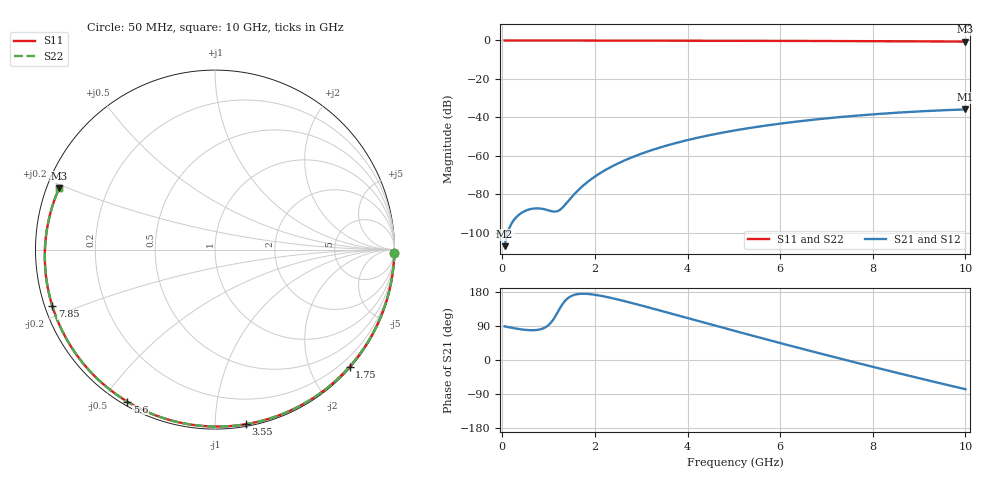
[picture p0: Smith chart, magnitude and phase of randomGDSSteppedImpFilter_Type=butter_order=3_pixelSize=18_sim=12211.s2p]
! freq	dB(S11)	phase(S11)	dB(S12)	phase(S12)
!  dB(S21)	phase(S21)	dB(S22)	phase(S22)
!S-par simulation data
#  GHz  S  DB  R 50
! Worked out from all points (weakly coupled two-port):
!   200 points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, 50 MHz to 10 GHz, reference 50 ohm
!   highest |S21| = -35.84 dB at 10 GHz (marker M1); lowest = -106.9 dB at 50 MHz (marker M2)
!   lowest |S11| = -0.6 dB at 10 GHz (marker M3), VSWR 29.09, Z = 1.78 + j9.45 ohm
!   |S11| at or under -10 dB: nowhere
!   |S22| runs from -0.6 to 0.0 dB; largest |S21 - S12| = 0
!   S11 on the Smith chart (normalised r, x): 50 MHz: 1, -99; 1.75 GHz: 0.02, -2.67; 3.55 GHz: 0.01, -1.19; 5.6 GHz: 0.01, -0.58; 7.85 GHz: 0.02, -0.17; 10 GHz: 0.04, +0.19
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0.05  -0.00 -1.2  -106.89 88.8  -106.89 88.8  -0.00 -1.2
0.45  -0.02 -10.7  -89.09 80.2  -89.09 80.2  -0.02 -10.7
0.8  -0.02 -19.0  -87.29 80.3  -87.29 80.3  -0.02 -19.0
1.15  -0.03 -27.2  -88.94 116.1  -88.94 116.1  -0.03 -27.2
1.55  -0.05 -36.4  -80.00 171.7  -80.00 171.7  -0.05 -36.4
1.75  -0.05 -41.0  -75.34 174.8  -75.34 174.8  -0.05 -41.0
2.05  -0.06 -47.8  -69.92 171.1  -69.92 171.1  -0.06 -47.8
2.25  -0.07 -52.2  -67.00 166.5  -67.00 166.5  -0.07 -52.2
2.45  -0.07 -56.6  -64.47 161.0  -64.47 161.0  -0.07 -56.6
2.9  -0.08 -66.4  -59.77 147.1  -59.77 147.1  -0.08 -66.4
3.4  -0.10 -76.9  -55.67 130.8  -55.67 130.8  -0.10 -76.9
3.55  -0.11 -80.0  -54.61 125.8  -54.61 125.8  -0.11 -80.0
4.3  -0.13 -95.1  -50.11 100.7  -50.11 100.7  -0.13 -95.1
5.05  -0.17 -109.6  -46.63 75.8  -46.63 75.8  -0.17 -109.6
5.6  -0.19 -119.9  -44.54 57.7  -44.54 57.7  -0.19 -120.0
6.15  -0.23 -130.1  -42.76 39.9  -42.76 39.9  -0.23 -130.1
6.7  -0.26 -140.1  -41.23 22.4  -41.23 22.4  -0.26 -140.1
7.3  -0.31 -150.9  -39.80 3.6  -39.80 3.6  -0.31 -150.9
7.85  -0.36 -160.8  -38.68 -13.4  -38.68 -13.4  -0.36 -160.9
8.35  -0.41 -169.9  -37.81 -28.6  -37.81 -28.6  -0.41 -170.0
9.2  -0.50 174.2  -36.62 -53.9  -36.62 -53.9  -0.50 174.1
10  -0.60 158.6  -35.84 -77.1  -35.84 -77.1  -0.60 158.5
